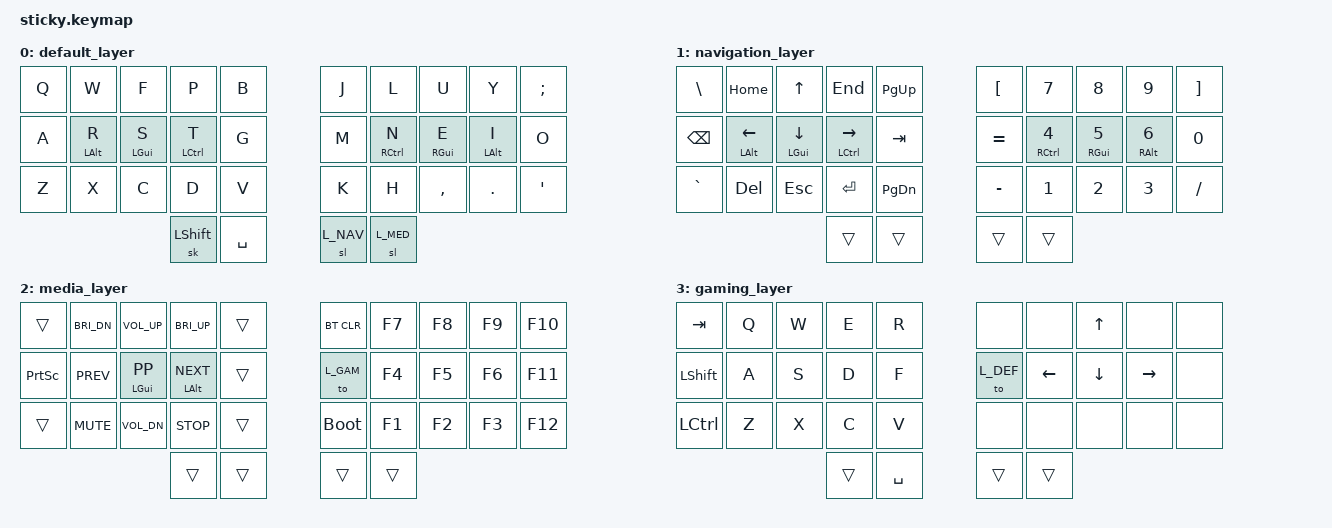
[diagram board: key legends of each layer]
/*
 * Copyright (c) 2020 The ZMK Contributors
 *
 * SPDX-License-Identifier: MIT
 */

#include <behaviors.dtsi>
#include <dt-bindings/zmk/bt.h>
#include <dt-bindings/zmk/keys.h>

// GENERAL KEYS
#define GEN_NONE &none
#define GEN_TRAN &trans

// DEFAULT LAYER

#define L_DEF 0

#define DEF_Q &kp Q
#define DEF_W &kp W
#define DEF_F &kp F
#define DEF_P &kp P
#define DEF_B &kp B
                        
#define DEF_A &kp A 
#define DEF_R &mt LALT R 
#define DEF_S &mt LGUI S
#define DEF_T &mt LCTL T 
#define DEF_G &kp G
        
#define DEF_Z &kp Z
#define DEF_X &kp X
#define DEF_C &kp C
#define DEF_D &kp D
#define DEF_V &kp V


#define DEF_J &kp J
#define DEF_L &kp L
#define DEF_U &kp U
#define DEF_Y &kp Y
#define DEF_SEMI &kp SEMI

#define DEF_K &kp K
#define DEF_H &kp H
#define DEF_COMA &kp COMMA
#define DEF_DOT &kp DOT
#define DEF_QUOT &kp SQT

#define DEF_M &kp M
#define DEF_N &mt RCTL N
#define DEF_E &mt RGUI E
#define DEF_I &mt LALT I 
#define DEF_O &kp O

#define DEF_SHFT &sk LSHIFT
#define DEF_SPC &kp SPC
#define DEF_NAV &sl L_NAV
#define DEF_MED &sl L_MED

// NAVIGATION LAYER
#define L_NAV 1

#define NAV_BSLH &kp BSLH
#define NAV_HOME &kp HOME
#define NAV_UP &kp UP
#define NAV_END &kp END
#define NAV_PGUP &kp PG_UP


#define NAV_BSPC &kp BSPC
#define NAV_LEFT &mt LALT LEFT
#define NAV_DOWN &mt LGUI DOWN
#define NAV_RGHT &mt LCTL RIGHT
#define NAV_TAB &kp TAB

#define NAV_GRV &kp GRAVE
#define NAV_DEL &kp DEL
#define NAV_ESC &kp ESC
#define NAV_RET &kp RET
#define NAV_PGDN &kp PG_DN

#define NAV_LBKT &kp LBKT
#define NAV_N7 &kp N7 
#define NAV_N8 &kp N8
#define NAV_N9 &kp N9
#define NAV_RBKT &kp RBKT 

#define NAV_EQUL &kp EQUAL
#define NAV_N4 &mt RCTL N4
#define NAV_N5 &mt RGUI N5
#define NAV_N6 &mt RALT N6
#define NAV_N0 &kp N0

#define NAV_MIN &kp MINUS
#define NAV_N1 &kp N1
#define NAV_N2 &kp N2
#define NAV_N3 &kp N3
#define NAV_FSLH &kp FSLH

// MEDIA LAYER
#define L_MED 2

#define MED_BRID &kp C_BRI_DN
#define MED_VOLU &kp C_VOL_UP
#define MED_BRIU &kp C_BRI_UP


#define MED_PRNT &kp PSCRN
#define MED_PREV &kp C_PREV
#define MED_PLAY &mt LGUI K_PP
#define MED_NEXT &mt LALT C_NEXT

#define MED_MUTE &kp C_MUTE
#define MED_VOLD &kp C_VOL_DN
#define MED_STOP &kp C_STOP


#define MED_BCLR &bt BT_CLR
#define MED_F7 &kp F7
#define MED_F8 &kp F8
#define MED_F9 &kp F9
#define MED_F10 &kp F10

#define MED_GAME &to L_GAM
#define MED_F4 &kp F4
#define MED_F5 &kp F5
#define MED_F6 &kp F6
#define MED_F11 &kp F11

#define MED_BOOT &bootloader
#define MED_F1 &kp F1
#define MED_F2 &kp F2
#define MED_F3 &kp F3
#define MED_F13 &kp F12

// GAMING LAYER
#define L_GAM 3

#define GAM_TAB &kp TAB
#define GAM_Q &kp Q
#define GAM_W &kp W
#define GAM_E &kp E
#define GAM_R &kp R

#define GAM_LSFT &kp LSHIFT
#define GAM_A &kp A
#define GAM_S &kp S
#define GAM_D &kp D
#define GAM_F &kp F

#define GAM_LCTL &kp LCTRL
#define GAM_Z &kp Z
#define GAM_X &kp X
#define GAM_C &kp C
#define GAM_V &kp V


#define GAM_UP &kp UP

#define GAM_DEF &to L_DEF
#define GAM_LEFT &kp LEFT
#define GAM_DOWN &kp DOWN
#define GAM_RGHT &kp RIGHT

#define GAM_ESC &kp ESC
#define GAM_SPC &kp SPACE

&sk {
    release-after-ms = <1000>;
    quick-release;
};
&sl {
    release-after-ms = <1000>;
};
&mt {
  flavor = "tap-preferred";
  tapping_term_ms = <180>;
};

&lt {
  flavor = "tap-preferred";
  tapping_term_ms = <180>;
};

/ {

  keymap {
    compatible = "zmk,keymap";

    default_layer {
      bindings = <
        DEF_Q    DEF_W    DEF_F    DEF_P    DEF_B          DEF_J    DEF_L    DEF_U    DEF_Y    DEF_SEMI
        DEF_A    DEF_R    DEF_S    DEF_T    DEF_G          DEF_M    DEF_N    DEF_E    DEF_I    DEF_O
        DEF_Z    DEF_X    DEF_C    DEF_D    DEF_V          DEF_K    DEF_H    DEF_COMA DEF_DOT  DEF_QUOT
                                   DEF_SHFT DEF_SPC        DEF_NAV  DEF_MED
      >;
    };

    navigation_layer {
      bindings = <
        NAV_BSLH NAV_HOME NAV_UP   NAV_END  NAV_PGUP       NAV_LBKT NAV_N7    NAV_N8    NAV_N9    NAV_RBKT
        NAV_BSPC NAV_LEFT NAV_DOWN NAV_RGHT NAV_TAB        NAV_EQUL NAV_N4    NAV_N5    NAV_N6    NAV_N0
        NAV_GRV  NAV_DEL  NAV_ESC  NAV_RET  NAV_PGDN       NAV_MIN  NAV_N1    NAV_N2    NAV_N3    NAV_FSLH
                                   GEN_TRAN GEN_TRAN       GEN_TRAN GEN_TRAN
      >;
    };

    media_layer {
      bindings = <
        GEN_TRAN MED_BRID MED_VOLU MED_BRIU GEN_TRAN       MED_BCLR MED_F7   MED_F8   MED_F9   MED_F10
        MED_PRNT MED_PREV MED_PLAY MED_NEXT GEN_TRAN       MED_GAME MED_F4   MED_F5   MED_F6   MED_F11
        GEN_TRAN MED_MUTE MED_VOLD MED_STOP GEN_TRAN       MED_BOOT MED_F1   MED_F2   MED_F3   MED_F13
                                   GEN_TRAN GEN_TRAN       GEN_TRAN GEN_TRAN
      >;
    };


    gaming_layer {
      bindings = <
        GAM_TAB  GAM_Q    GAM_W    GAM_E    GAM_R       GEN_NONE GEN_NONE GAM_UP   GEN_NONE GEN_NONE
        GAM_LSFT GAM_A    GAM_S    GAM_D    GAM_F       GAM_DEF  GAM_LEFT GAM_DOWN GAM_RGHT GEN_NONE
        GAM_LCTL GAM_Z    GAM_X    GAM_C    GAM_V       GEN_NONE GEN_NONE GEN_NONE GEN_NONE GEN_NONE
                                   GEN_TRAN GAM_SPC     GEN_TRAN GEN_TRAN
      >;
    };

    // empty_layer {
    //   bindings = <
    //     GEN_TRAN GEN_TRAN GEN_TRAN GEN_TRAN GEN_TRAN       GEN_TRAN GEN_TRAN GEN_TRAN GEN_TRAN GEN_TRAN
    //     GEN_TRAN GEN_TRAN GEN_TRAN GEN_TRAN GEN_TRAN       GEN_TRAN GEN_TRAN GEN_TRAN GEN_TRAN GEN_TRAN
    //     GEN_TRAN GEN_TRAN GEN_TRAN GEN_TRAN GEN_TRAN       GEN_TRAN GEN_TRAN GEN_TRAN GEN_TRAN GEN_TRAN
    //                                GEN_TRAN GEN_TRAN       GEN_TRAN GEN_TRAN
    //   >;
    // };

  };
};
